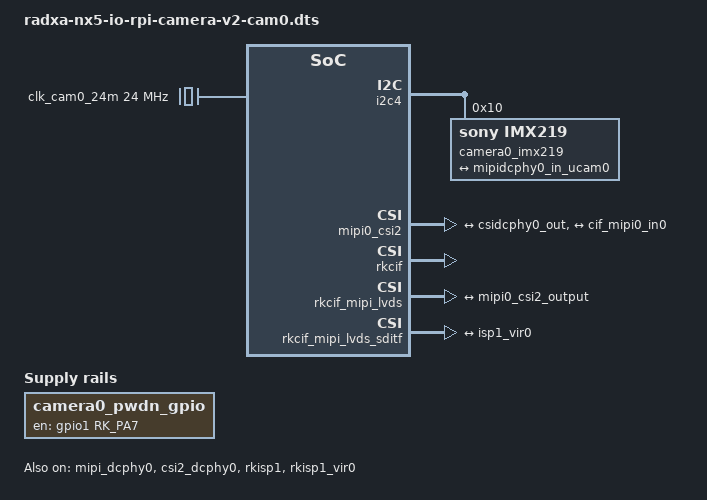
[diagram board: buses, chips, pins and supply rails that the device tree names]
/dts-v1/;
/plugin/;

#include <dt-bindings/gpio/gpio.h>
#include <dt-bindings/pinctrl/rockchip.h>

/ {
	metadata {
		title ="Enable Raspberry Pi Camera v2 on CAM0";
		compatible = "radxa,nx5-io";
		category = "camera";
		exclusive = "csi2_dcphy0";
		description = "Enable Raspberry Pi Camera v2 on CAM0.";
	};


	fragment@0 {
		target-path = "/";

		__overlay__ {
			camera0_pwdn_gpio: camera0-pwdn-gpio {
				compatible = "regulator-fixed";
				regulator-name = "camera0_pwdn_gpio";
				regulator-always-on;
				regulator-boot-on;
				enable-active-high;
				gpio = <&gpio1 RK_PA7 GPIO_ACTIVE_HIGH>;
				pinctrl-names = "default";
				pinctrl-0 = <&cam0_pwdn_gpio>;
			};

			clk_cam0_24m: external-camera-clock-24m {
				compatible = "fixed-clock";
				clock-frequency = <24000000>;
				clock-output-names = "clk_cam0_24m";
				#clock-cells = <0>;
			};
		};
	};

	fragment@1 {
		target = <&i2c4>;

		__overlay__ {
			status = "okay";
			pinctrl-0 = <&i2c4m2_xfer>;

			camera0_imx219: camera0-imx219@10 {
				compatible = "sony,imx219";
				reg = <0x10>;

				clocks = <&clk_cam0_24m>;
				clock-names = "xvclk";

				rockchip,camera-module-index = <1>;
				rockchip,camera-module-facing = "back";
				rockchip,camera-module-name = "rpi-camera-v2";
				rockchip,camera-module-lens-name = "default";

				port {
					imx219_out0: endpoint {
						remote-endpoint = <&mipidcphy0_in_ucam0>;
						data-lanes = <1 2>;
					};
				};
			};
		};
	};

	fragment@2 {
		target = <&mipi_dcphy0>;

		__overlay__ {
			status = "okay";
		};
	};

	fragment@3 {
		target = <&csi2_dcphy0>;

		__overlay__ {
			status = "okay";

			ports {
				#address-cells = <1>;
				#size-cells = <0>;

				port@0 {
					reg = <0>;
					#address-cells = <1>;
					#size-cells = <0>;

					mipidcphy0_in_ucam0: endpoint@2 {
						reg = <2>;
						remote-endpoint = <&imx219_out0>;
						data-lanes = <1 2>;
					};
				};

				port@1 {
					reg = <1>;
					#address-cells = <1>;
					#size-cells = <0>;

					csidcphy0_out: endpoint@0 {
						reg = <0>;
						remote-endpoint = <&mipi0_csi2_input>;
					};
				};
			};
		};
	};

	fragment@4 {
		target = <&mipi0_csi2>;

		__overlay__ {
			status = "okay";

			ports {
				#address-cells = <1>;
				#size-cells = <0>;

				port@0 {
					reg = <0>;
					#address-cells = <1>;
					#size-cells = <0>;

					mipi0_csi2_input: endpoint@1 {
						reg = <1>;
						remote-endpoint = <&csidcphy0_out>;
					};
				};

				port@1 {
					reg = <1>;
					#address-cells = <1>;
					#size-cells = <0>;

					mipi0_csi2_output: endpoint@0 {
						reg = <0>;
						remote-endpoint = <&cif_mipi0_in0>;
					};
				};
			};
		};
	};

	fragment@5 {
		target = <&rkcif>;

		__overlay__ {
			status = "okay";
		};
	};

	fragment@6 {
		target = <&rkcif_mipi_lvds>;

		__overlay__ {
			status = "okay";

			port {
				cif_mipi0_in0: endpoint {
					remote-endpoint = <&mipi0_csi2_output>;
				};
			};
		};
	};

	fragment@7 {
		target = <&rkcif_mipi_lvds_sditf>;

		__overlay__ {
			status = "okay";

			port {
				mipi_lvds_sditf: endpoint {
					remote-endpoint = <&isp1_vir0>;
				};
			};
		};
	};

	fragment@8 {
		target = <&rkcif_mmu>;

		__overlay__ {
			status = "okay";
		};
	};

	fragment@9 {
		target = <&isp1_mmu>;

		__overlay__ {
			status = "okay";
		};
	};

	fragment@10 {
		target = <&rkisp1>;

		__overlay__ {
			status = "okay";
		};
	};

	fragment@11 {
		target = <&rkisp1_vir0>;

		__overlay__ {
			status = "okay";

			port {
				#address-cells = <1>;
				#size-cells = <0>;

				isp1_vir0: endpoint@0 {
					reg = <0>;
					remote-endpoint = <&mipi_lvds_sditf>;
				};
			};
		};
	};

	fragment@12 {
		target = <&pinctrl>;

		__overlay__ {
			camera {
				cam0_pwdn_gpio: cam0-pwdn-gpio {
					rockchip,pins = <1 RK_PA7 RK_FUNC_GPIO &pcfg_pull_up>;
				};
			};
		};
	};
};
